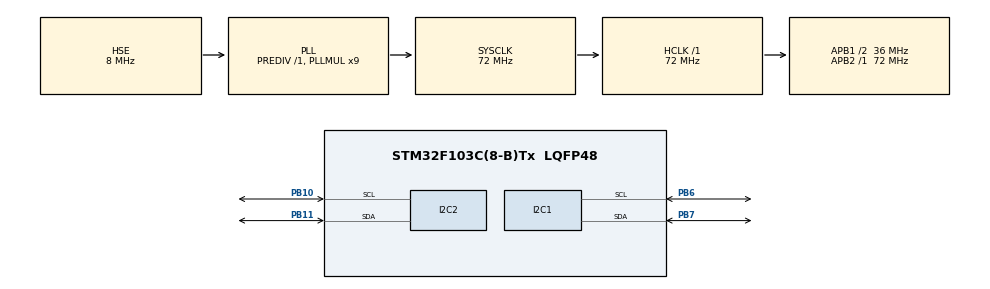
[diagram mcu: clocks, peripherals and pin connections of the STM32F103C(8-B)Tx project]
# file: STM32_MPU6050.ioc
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Mcu.Family=STM32F1
RCC.PLLSourceVirtual=RCC_PLLSOURCE_HSE
PD1-OSC_OUT.Mode=HSE-External-Oscillator
PB10.Mode=I2C
PD0-OSC_IN.Signal=RCC_OSC_IN
RCC.APB1CLKDivider=RCC_HCLK_DIV2
PB11.Signal=I2C2_SDA
RCC.SYSCLKSource=RCC_SYSCLKSOURCE_PLLCLK
ProjectManager.StackSize=0x400
PD1-OSC_OUT.Signal=RCC_OSC_OUT
PA13.Signal=SYS_JTMS-SWDIO
PB11.Mode=I2C
ProjectManager.TargetToolchain=STM32CubeIDE
I2C1.I2C_Mode=I2C_Standard
RCC.HCLKFreq_Value=72000000
RCC.APB2TimFreq_Value=72000000
PB6.Signal=I2C1_SCL
PB6.Mode=I2C
RCC.USBFreq_Value=72000000
RCC.AHBFreq_Value=72000000
PD0-OSC_IN.Mode=HSE-External-Oscillator
PB10.Signal=I2C2_SCL
board=custom
RCC.PLLMUL=RCC_PLL_MUL9
RCC.APB2Freq_Value=72000000
PA14.Mode=Serial_Wire
PB7.Signal=I2C1_SDA
PA13.Mode=Serial_Wire
Mcu.Name=STM32F103C(8-B)Tx
RCC.SYSCLKFreq_VALUE=72000000
Mcu.Package=LQFP48
PB7.Mode=I2C
PA14.Signal=SYS_JTCK-SWCLK
ProjectManager.HeapSize=0x200
NVIC.PriorityGroup=NVIC_PRIORITYGROUP_4
RCC.APB1TimFreq_Value=72000000
RCC.APB1Freq_Value=36000000

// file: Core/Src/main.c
/* USER CODE BEGIN Header */
/**
  ******************************************************************************
  * @file           : main.c
  * @brief          : Main program body
  ******************************************************************************
  * @attention
  *
  * <h2><center>&copy; Copyright (c) 2021 STMicroelectronics.
  * All rights reserved.</center></h2>
  *
  * This software component is licensed by ST under BSD 3-Clause license,
  * the "License"; You may not use this file except in compliance with the
  * License. You may obtain a copy of the License at:
  *                        opensource.org/licenses/BSD-3-Clause
  *
  ******************************************************************************
  */
/* USER CODE END Header */
#include "main.h"

/* USER CODE BEGIN Includes */

#include "string.h"
#include "i2c-lcd.h"
#include "stdio.h"

/* USER CODE END Includes */

I2C_HandleTypeDef hi2c1;
I2C_HandleTypeDef hi2c2;

/* USER CODE BEGIN PV */

// I2C device addresses
static const uint8_t MPU_Address = 0x68;

//Register used for MPU initialization
static const uint8_t SIGNAL_PATH_RESET = 0x68; //Resets the analog and digital signal paths of the gyroscope, accelerometer, and temperature sensors.
static const uint8_t MPU_PWR_MGT_1 = 0x6B; // Power management 1
static const uint8_t DLPF_CFG = 0x1A;  // Config register read/write
static const uint8_t SMPLRT_DIV = 0x19;  // Sample divider to achieve a desired sample rate
static const uint8_t GYRO_CONFIG = 0x1B;  // Gyroscope scale config - degrees per second
static const uint8_t GYRO_CONFIG_SCALE = 0x18; // 0x00 = 250 degrees/second, 0x08 = 500 degrees/second, 0x10 = 1000 degrees/second, 0x18 = 2000 degrees/second

static const uint8_t ACCEL_CONFIG = 0x1C;  // Accelerometer scale config - degrees per second
static const uint8_t ACCEL_CONFIG_SCALE = 0x18; // 0x00 = 2g, 0x08 = 4g, 0x10 = 8g, 0x18 = 16g

// MPU Read registers
static const uint8_t MPU_TempReg = 0x41;
static const uint8_t MPU_GyroOut = 0x43;
static const uint8_t MPU_AccelOut = 0x3B;

/* USER CODE END PV */

void SystemClock_Config(void);
static void MX_GPIO_Init(void);
static void MX_I2C1_Init(void);
static void MX_I2C2_Init(void);
/* USER CODE BEGIN PFP */

HAL_StatusTypeDef MPU_Init(){
	HAL_StatusTypeDef returnValue;
	uint8_t initializationBuffer[5];

	initializationBuffer[0] = MPU_PWR_MGT_1;
	initializationBuffer[1] = 0x00; //Set clocksource to internal 8MHz oscillator
	returnValue = HAL_I2C_Master_Transmit(&hi2c1, (MPU_Address<<1), initializationBuffer, 2, HAL_MAX_DELAY);
	if(returnValue != HAL_OK) return returnValue;

	initializationBuffer[0] = SIGNAL_PATH_RESET;
	initializationBuffer[1] = 0x07; // Resets gyro, accel & temp signal path to disable any filtering
	returnValue = HAL_I2C_Master_Transmit(&hi2c1, (MPU_Address<<1), initializationBuffer, 2, HAL_MAX_DELAY);
	if(returnValue != HAL_OK) return returnValue;

	initializationBuffer[0] = DLPF_CFG;
	initializationBuffer[1] = 0x00; //Digital low pass filter disable & gyro sample rate at 8 kHz
	returnValue = HAL_I2C_Master_Transmit(&hi2c1, (MPU_Address<<1), initializationBuffer, 2, HAL_MAX_DELAY);
	if(returnValue != HAL_OK) return returnValue;

	initializationBuffer[0] = SMPLRT_DIV;
	initializationBuffer[1] = 0x07; //Sample Rate = Gyroscope Output Rate / (1 + SMPLRT_DIV)  @ 1kHz
	returnValue = HAL_I2C_Master_Transmit(&hi2c1, (MPU_Address<<1), initializationBuffer, 2, HAL_MAX_DELAY);
	if(returnValue != HAL_OK) return returnValue;

	initializationBuffer[0] = GYRO_CONFIG;
	initializationBuffer[1] = GYRO_CONFIG_SCALE; // Sets the full scale to +-2000 degrees per second
	returnValue = HAL_I2C_Master_Transmit(&hi2c1, (MPU_Address<<1), initializationBuffer, 2, HAL_MAX_DELAY);
	if(returnValue != HAL_OK) return returnValue;

	initializationBuffer[0] = ACCEL_CONFIG;
	initializationBuffer[1] = ACCEL_CONFIG_SCALE; // Sets the accelerometer full scale to +-16g
	returnValue = HAL_I2C_Master_Transmit(&hi2c1, (MPU_Address<<1), initializationBuffer, 2, HAL_MAX_DELAY);
	if(returnValue != HAL_OK) return returnValue;

	return returnValue;

}

float MPU_Read_Temp(){
	// Enumeration of possible errors
	HAL_StatusTypeDef returnValue;
	int16_t rawTempVal;
	float tempVal = 0.0;

	uint8_t tempBuf[2];
	 tempBuf[0] = MPU_TempReg;
	 returnValue = HAL_I2C_Master_Transmit(&hi2c1, (MPU_Address<<1), tempBuf, 1, HAL_MAX_DELAY);
	 if(returnValue != HAL_OK) return returnValue;
	 returnValue = HAL_I2C_Master_Receive(&hi2c1, (MPU_Address<<1) | 0x01, tempBuf, 2, HAL_MAX_DELAY);
	 if(returnValue != HAL_OK) return returnValue;

	 // Data composition from raw data
	 rawTempVal = ((int16_t)tempBuf[0] << 8 | tempBuf[1]);

	 // Temperature calculation
	 tempVal = (rawTempVal)/340.0 + 36.53;

	 return tempVal;
}

float MPU_Read_Gyro(char axis){
	int16_t rawGyroData_X;
	int16_t rawGyroData_Y;
	int16_t rawGyroData_Z;

	float gyro_X;
	float gyro_Y;
	float gyro_Z;

	float sensitivity;

	if (GYRO_CONFIG_SCALE == 0x00)sensitivity =  131.0;
	if (GYRO_CONFIG_SCALE == 0x08)sensitivity =  65.5;
	if (GYRO_CONFIG_SCALE == 0x10)sensitivity =  32.8;
	if (GYRO_CONFIG_SCALE == 0x18)sensitivity =  16.4;

	 uint8_t gyroBuf[10];
	 gyroBuf[0] = MPU_GyroOut;
	 HAL_I2C_Master_Transmit(&hi2c1, (MPU_Address<<1), gyroBuf, 1, HAL_MAX_DELAY);
	 HAL_I2C_Master_Receive(&hi2c1, (MPU_Address<<1) | 0x01, gyroBuf, 6, HAL_MAX_DELAY);

	 // Data composition from raw data
	 rawGyroData_X = ((int16_t)gyroBuf[0] << 8 | gyroBuf[1]);
	 rawGyroData_Y = ((int16_t)gyroBuf[2] << 8 | gyroBuf[3]);
	 rawGyroData_Z = ((int16_t)gyroBuf[4] << 8 | gyroBuf[5]);

	 gyro_X = (float)rawGyroData_X/sensitivity;
	 gyro_Y = (float)rawGyroData_Y/sensitivity;
	 gyro_Z = (float)rawGyroData_Z/sensitivity;

	 if ((axis == 'X') | (axis == 'x'))return gyro_X;
	 if ((axis == 'Y') | (axis == 'y'))return gyro_Y;
	 if ((axis == 'Z') | (axis == 'z'))return gyro_Z;
	 else return 0.0;

}

float MPU_Read_Accel(char axis){
	int16_t rawAccelData_X;
	int16_t rawAccelData_Y;
	int16_t rawAccelData_Z;

	float accel_X;
	float accel_Y;
	float accel_Z;

	float sensitivity;

	if (ACCEL_CONFIG_SCALE == 0x00)sensitivity =  16384.0;
	if (ACCEL_CONFIG_SCALE == 0x08)sensitivity =  8192.0;
	if (ACCEL_CONFIG_SCALE == 0x10)sensitivity =  4096.0;
	if (ACCEL_CONFIG_SCALE == 0x18)sensitivity =  2048.0;

	 uint8_t accelBuf[10];
	 accelBuf[0] = MPU_AccelOut;
	 HAL_I2C_Master_Transmit(&hi2c1, (MPU_Address<<1), accelBuf, 1, HAL_MAX_DELAY);
	 HAL_I2C_Master_Receive(&hi2c1, (MPU_Address<<1) | 0x01, accelBuf, 6, HAL_MAX_DELAY);

	 // Data composition from raw data
	 rawAccelData_X = ((int16_t)accelBuf[0] << 8 | accelBuf[1]);
	 rawAccelData_Y = ((int16_t)accelBuf[2] << 8 | accelBuf[3]);
	 rawAccelData_Z = ((int16_t)accelBuf[4] << 8 | accelBuf[5]);

	 accel_X = (float)rawAccelData_X/sensitivity;
	 accel_Y = (float)rawAccelData_Y/sensitivity;
	 accel_Z = (float)rawAccelData_Z/sensitivity;

	 if ((axis == 'X') | (axis == 'x'))return accel_X;
	 if ((axis == 'Y') | (axis == 'y'))return accel_Y;
	 if ((axis == 'Z') | (axis == 'z'))return accel_Z;
	 else return 0.0;

}
/* USER CODE END PFP */

int main(void)
{

  /* MCU Configuration--------------------------------------------------------*/

  /* Reset of all peripherals, Initializes the Flash interface and the Systick. */
  HAL_Init();

  /* Configure the system clock */
  SystemClock_Config();

  /* Initialize all configured peripherals */
  MX_GPIO_Init();
  MX_I2C1_Init();
  MX_I2C2_Init();
  /* USER CODE BEGIN 2 */

  lcd_init();

  MPU_Init();

  //lcd_send_string("Hello World");

  /* USER CODE END 2 */

  /* Infinite loop */
  /* USER CODE BEGIN WHILE */
  while (1)
  {

	  float accel = MPU_Read_Accel('z');

	  char buf[20];
	  sprintf(buf, "%f", accel);

	  lcd_put_cur(0, 0);
	  lcd_send_string(buf);
	  HAL_Delay(200);

    /* USER CODE END WHILE */

  }
}

void SystemClock_Config(void)
{
  RCC_OscInitTypeDef RCC_OscInitStruct = {0};
  RCC_ClkInitTypeDef RCC_ClkInitStruct = {0};

  /** Initializes the RCC Oscillators according to the specified parameters
  * in the RCC_OscInitTypeDef structure.
  */
  RCC_OscInitStruct.OscillatorType = RCC_OSCILLATORTYPE_HSE;
  RCC_OscInitStruct.HSEState = RCC_HSE_ON;
  RCC_OscInitStruct.HSEPredivValue = RCC_HSE_PREDIV_DIV1;
  RCC_OscInitStruct.HSIState = RCC_HSI_ON;
  RCC_OscInitStruct.PLL.PLLState = RCC_PLL_ON;
  RCC_OscInitStruct.PLL.PLLSource = RCC_PLLSOURCE_HSE;
  RCC_OscInitStruct.PLL.PLLMUL = RCC_PLL_MUL9;
  if (HAL_RCC_OscConfig(&RCC_OscInitStruct) != HAL_OK)
  {
    Error_Handler();
  }
  /** Initializes the CPU, AHB and APB buses clocks
  */
  RCC_ClkInitStruct.ClockType = RCC_CLOCKTYPE_HCLK|RCC_CLOCKTYPE_SYSCLK
                              |RCC_CLOCKTYPE_PCLK1|RCC_CLOCKTYPE_PCLK2;
  RCC_ClkInitStruct.SYSCLKSource = RCC_SYSCLKSOURCE_PLLCLK;
  RCC_ClkInitStruct.AHBCLKDivider = RCC_SYSCLK_DIV1;
  RCC_ClkInitStruct.APB1CLKDivider = RCC_HCLK_DIV2;
  RCC_ClkInitStruct.APB2CLKDivider = RCC_HCLK_DIV1;

  if (HAL_RCC_ClockConfig(&RCC_ClkInitStruct, FLASH_LATENCY_2) != HAL_OK)
  {
    Error_Handler();
  }
}

static void MX_I2C1_Init(void)
{

  hi2c1.Instance = I2C1;
  hi2c1.Init.ClockSpeed = 100000;
  hi2c1.Init.DutyCycle = I2C_DUTYCYCLE_2;
  hi2c1.Init.OwnAddress1 = 0;
  hi2c1.Init.AddressingMode = I2C_ADDRESSINGMODE_7BIT;
  hi2c1.Init.DualAddressMode = I2C_DUALADDRESS_DISABLE;
  hi2c1.Init.OwnAddress2 = 0;
  hi2c1.Init.GeneralCallMode = I2C_GENERALCALL_DISABLE;
  hi2c1.Init.NoStretchMode = I2C_NOSTRETCH_DISABLE;
  if (HAL_I2C_Init(&hi2c1) != HAL_OK)
  {
    Error_Handler();
  }

}

static void MX_I2C2_Init(void)
{

  hi2c2.Instance = I2C2;
  hi2c2.Init.ClockSpeed = 100000;
  hi2c2.Init.DutyCycle = I2C_DUTYCYCLE_2;
  hi2c2.Init.OwnAddress1 = 0;
  hi2c2.Init.AddressingMode = I2C_ADDRESSINGMODE_7BIT;
  hi2c2.Init.DualAddressMode = I2C_DUALADDRESS_DISABLE;
  hi2c2.Init.OwnAddress2 = 0;
  hi2c2.Init.GeneralCallMode = I2C_GENERALCALL_DISABLE;
  hi2c2.Init.NoStretchMode = I2C_NOSTRETCH_DISABLE;
  if (HAL_I2C_Init(&hi2c2) != HAL_OK)
  {
    Error_Handler();
  }

}

static void MX_GPIO_Init(void)
{

  /* GPIO Ports Clock Enable */
  __HAL_RCC_GPIOD_CLK_ENABLE();
  __HAL_RCC_GPIOB_CLK_ENABLE();
  __HAL_RCC_GPIOA_CLK_ENABLE();

}

void Error_Handler(void)
{
  __disable_irq();
  while (1)
  {
  }
}

/************************ (C) COPYRIGHT STMicroelectronics *****END OF FILE****/
